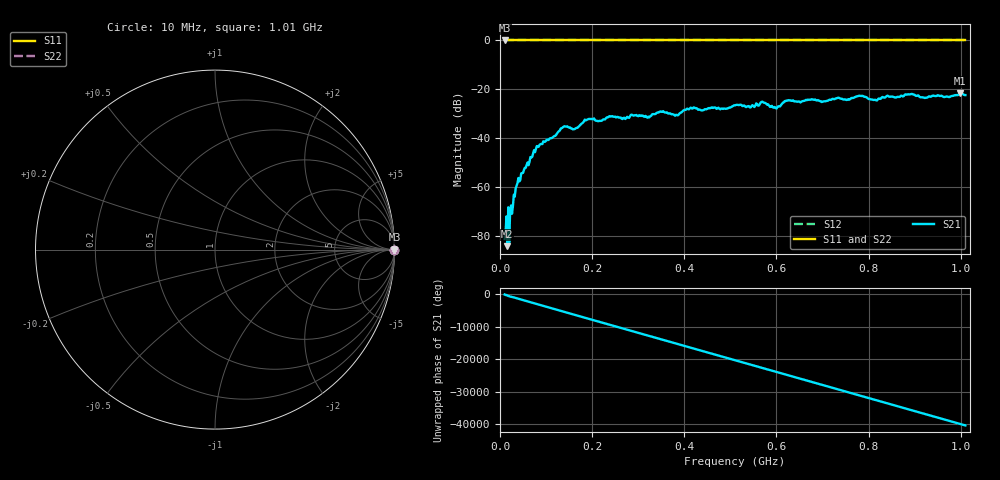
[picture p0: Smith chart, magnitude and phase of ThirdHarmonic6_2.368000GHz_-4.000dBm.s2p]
! 8/17/2025 3:41:00 AM
! C:\ANRITSUVNA\TEMP\TEMP.S2P
! CHANNEL.1
! TR.MEASUREMENT
! RAW.DATA
! RF.CORRECTION.OFF
! AVERAGING.OFF
! IF.BANDWIDTH: 5KHZ
! SWEEPTYPE:  FREQ.SWEEP(Linear)
! Reference Plane Port Info
! PORT:  PORT1  PORT2
! DISTANCE:  0  m  0  m
! TIME:  0  s  0  s
! PHASE.OFFSET:  0  deg.  0  deg.
! LOSS:  0  dB  0  dB
! REF.LOSS:  0  dB  0  dB
! REF.FREQ:  0  Hz  0  Hz
! Power Info
! POWER:  -20  dBm  -20  dBm
! EFF.POWER:  -20  dBm  -20  dBm
! SOURCE.ATTEN:  0  dB  0  dB
! TEST.ATTEN:  0  dB  0  dB
# GHZ S RI R 50.0
! FREQ.GHZ  S11RE  S11IM  S21RE  S21IM  S12RE  S12IM  S22RE  S22IM
!; PortSelection: Port_12
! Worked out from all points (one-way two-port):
!   501 points, 10 MHz to 1.01 GHz, reference 50 ohm
!   highest |S21| = -21.63 dB at 998 MHz (marker M1); lowest = -84.0 dB at 16 MHz (marker M2)
!   lowest |S11| = 0.0 dB at 10 MHz (marker M3)
!   |S11| at or under -10 dB: nowhere
!   |S22| runs from 0.0 to 0.0 dB; largest |S21 - S12| = 1.1
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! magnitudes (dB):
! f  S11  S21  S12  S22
! 10 MHz  0.0  -81.1  0.0  0.0
! 16 MHz  0.0  -84.0  0.0  0.0
! 24 MHz  0.0  -67.4  0.0  0.0
! 26 MHz  0.0  -70.7  0.0  0.0
! 38 MHz  0.0  -58.2  0.0  0.0
! 76 MHz  0.0  -45.6  0.0  0.0
! 136 MHz  0.0  -35.5  0.0  0.0
! 162 MHz  0.0  -36.2  0.0  0.0
! 178 MHz  0.0  -33.8  0.0  0.0
! 240 MHz  0.0  -31.1  0.0  0.0
! 322 MHz  0.0  -31.1  0.0  0.0
! 344 MHz  0.0  -29.4  0.0  0.0
! 382 MHz  0.0  -30.4  0.0  0.0
! 416 MHz  0.0  -27.7  0.0  0.0
! 510 MHz  0.0  -26.5  0.0  0.0
! 570 MHz  0.0  -25.0  0.0  0.0
! 598 MHz  0.0  -27.4  0.0  0.0
! 622 MHz  0.0  -24.5  0.0  0.0
! 678 MHz  0.0  -24.1  0.0  0.0
! 844 MHz  0.0  -22.9  0.0  0.0
! 998 MHz  0.0  -21.6  0.0  0.0
! 1.01 GHz  0.0  -22.3  0.0  0.0
